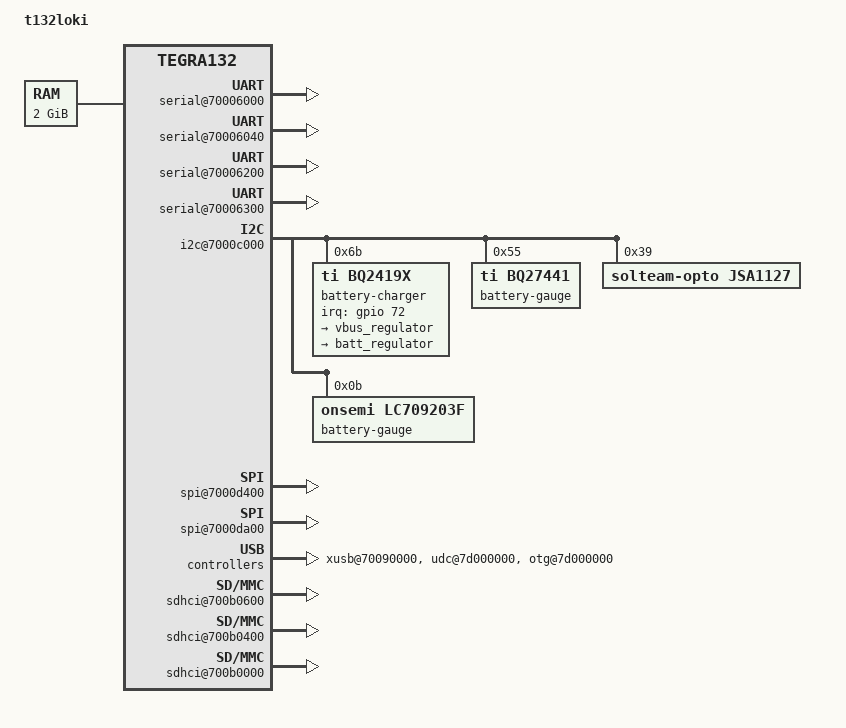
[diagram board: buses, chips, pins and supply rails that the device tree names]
/dts-v1/;

#define TEGRA132_PACKAGE_IS_DSC
#include "tegra132-soc-shield.dtsi"
#include <dt-bindings/gpio/tegra-gpio.h>
#include <tegra132-platforms/tegra132-loki-pinmux.dtsi>
#include <tegra132-platforms/tegra132-loki-gpio-default.dtsi>
#include <tegra132-platforms/tegra132-sdhci.dtsi>
#include <tegra124-platforms/tegra124-loki-camera-a00.dtsi>
#include <tegra124-platforms/tegra124-loki-sensor.dtsi>

/ {
	model = "t132loki";
	compatible = "nvidia,t132loki", "nvidia,tegra132";
	nvidia,dtsfilename = __FILE__;
	#address-cells = <2>;
	#size-cells = <2>;

	chosen {
		bootargs = "tegraid=40.0.0.00.00 vmalloc=256M video=tegrafb earlycon=uart8250,mmio32,0x70006300";
		stdout-path = &uartd;
		linux,initrd-start = <0x85000000>;
		linux,initrd-end = <0x851bc400>;
	};

	firmware {
		android {
			compatible = "android,firmware";
			hardware = "t132loki";
		};
	};

	serial@70006000 {
		compatible = "nvidia,tegra114-hsuart";
		status = "okay";
	};

	serial@70006040 {
		compatible = "nvidia,tegra114-hsuart";
		status = "okay";
	};

	serial@70006200 {
		compatible = "nvidia,tegra114-hsuart";
		status = "okay";
	};

	serial@70006300 {
		compatible = "nvidia,tegra20-uart", "nvidia,tegra114-hsuart";
		console-port;
		sqa-automation-port;
		status = "okay";
	};

	memory@0x80000000 {
		device_type = "memory";
		reg = <0x0 0x80000000 0x0 0x80000000>;
	};

	i2c@7000c000 {
		battery-charger@6b {
			compatible = "ti,bq2419x";
			reg = <0x6b>;
			interrupt-parent = <&gpio>;
			interrupts = <72 0x0>;
			ti,charging-term-current-mA = <100>;

			vbus {
				regulator-name = "vbus_regulator";
				ti,otg-iusb-gpio = <&gpio TEGRA_GPIO(I, 4) 0>;
				consumers {
					c1 {
						regulator-consumer-supply = "usb_vbus";
						regulator-consumer-device = "tegra-ehci.0";
					};

					c2 {
						regulator-consumer-supply = "usb_vbus";
						regulator-consumer-device = "tegra-otg";
					};
				};
			};

			charger {
				regulator-name = "batt_regulator";
				regulator-max-microamp = <3000000>;
				ti,watchdog-timeout = <40>;
				ti,rtc-alarm-time = <3600>;
				ti,auto-recharge-time = <1800>;
				ti,temp-polling-time-sec = <5>;
				ti,disbale-suspend-during-charging;
				ti,pre-charge-current-limit-milliamp = <768>;
				ti,charge-term-current-limit-milliamp = <384>;
				ti,ir-comp-resister-ohm = <70>;
				ti,ir-comp-voltage-millivolt = <112>;
				ti,thermal-regulation-threshold-degc = <100>;
				consumers {
					c1 {
						regulator-consumer-supply = "usb_bat_chg";
						regulator-consumer-device = "tegra-udc.0";
					};

					c2 {
						regulator-consumer-supply = "usb_bat_chg";
						regulator-consumer-device = "tegra-otg";
					};

				};
			};
		};

		battery-gauge@55 {
			compatible = "ti,bq27441";
			reg = <0x55>;
			ti,design-capacity = <7800>;
			ti,design-energy = <28314>;
			ti,taper-rate = <167>;
			ti,terminate-voltage = <3150>;
			ti,v-at-chg-term = <4200>;
			ti,tz-name = "Battery";
		};

		jsa1127@39 {
			compatible = "solteam-opto,jsa1127";
			reg = <0x39>;
			solteam-opto,rint = <100>;
			solteam-opto,integration-time = <2000>;
			solteam-opto,use-internal-integration-timing = <1>;
			solteam-opto,tint-coeff = <22>;
			solteam-opto,noisy = <1>;
		};

		battery-gauge@0b {
			compatible = "onsemi,lc709203f";
			reg = <0x0b>;
			onsemi,tz-name = "Battery";
		};
	};

	i2c@7000d000 {
		nvidia,bit-banging-xfer-after-shutdown;
	};

	spi@7000d400 {
		status = "okay";
		spi-max-frequency = <25000000>;
	};

	spi@7000da00 {
		status = "okay";
		spi-max-frequency = <25000000>;
	};

	pmc@7000e400 {
		status = "okay";
		nvidia,invert-interrupt;
		nvidia,suspend-mode = <3>;
		nvidia,cpu-pwr-good-time = <500>;
		nvidia,cpu-pwr-off-time = <300>;
		nvidia,core-pwr-good-time = <3845 3845>;
		nvidia,core-pwr-off-time = <2000>;
		nvidia,core-power-req-active-high;
		nvidia,sys-clock-req-active-high;
	};

	xusb@70090000 {
		/* nvidia,uses_external_pmic;
		nvidia,gpio_controls_muxed_ss_lanes; */
		nvidia,gpio_ss1_sata = <0>;
		nvidia,portmap = <0x703>; /* SSP0, SSP1 USB2P0, USB2P1, USBP2 */
		nvidia,ss_portmap = <0x20>; /* SSP0 on USB2P0, SSP1 on USB2P2 */
		nvidia,lane_owner = <6>; /* USB3P0 USB3P1 */
		nvidia,ulpicap = <0>; /* No ulpi support. can we remove */
		status = "okay";
	};

	udc@7d000000 {
		nvidia,port-otg;
		nvidia,charging-supported;
		nvidia,enable-pmu-vbus-detection;
		nvidia,id-detection-type = <1>;
		#extcon-cells = <1>;
		status = "okay";
	};

	otg@7d000000 {
		nvidia,enable-pmu-vbus-detection;
		nvidia,id-detection-type = <1>;
		#extcon-cells = <1>;
		status = "okay";
	};

	psy_extcon {
		compatible = "power-supply-extcon";
		extcon-cables = <&udc 1 &udc 2 &udc 3
				&udc 4 &udc 5 &udc 6
				&udc 7 &udc 8 &udc 9
				&udc 10 &otg 0>;
		extcon-cable-names = "usb-charger", "ta-charger", "maxim-charger",
				"qc2-charger", "downstream-charger","fast-charger",
				"slow-charger", "apple-500ma", "apple-1a",
				"apple-2a", "y-cable";
	};

	therm_est_sensor {
		status = "disabled";
	};

	thermal-zones {
		therm_est {
			status = "disabled";
		};
	};

	sdhci@700b0600 {
		status = "okay";
	};

	sdhci@700b0400 {
		status = "okay";
	};

	sdhci@700b0000 {
		status = "okay";
	};

};
